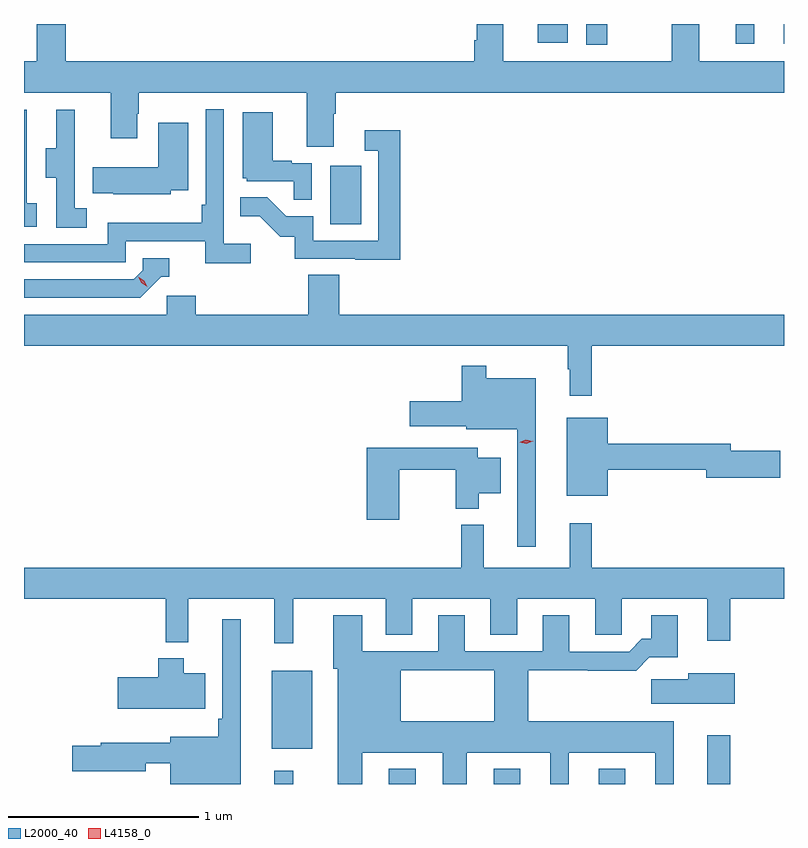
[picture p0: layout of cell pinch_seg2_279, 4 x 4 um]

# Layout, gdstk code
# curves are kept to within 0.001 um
import gdstk
lib = gdstk.Library(unit=1e-6, precision=1e-09)
def R(c, l, rs):  # rectangles x0, y0, x1, y1
    for r in rs: c.add(gdstk.rectangle(r[:2], r[2:], *l))
def A(c, l, x, y, w, h, nx, ny, dx, dy):  # array of equal rectangles
    R(c, l, [(x+i*dx, y+j*dy, x+i*dx+w, y+j*dy+h) for i in range(nx) for j in range(ny)])
def P(c, l, *ps):  # polygons
    for p in ps: c.add(gdstk.Polygon(p, *l))
L2000_40 = (2000, 40)
L4158_0 = (4158, 0)

pinch_seg2_279 = lib.new_cell('pinch_seg2_279')
A(pinch_seg2_279, L2000_40, 900.935, 640.001, 0.14, 0.08, 3, 1, 0.552, 0)
R(pinch_seg2_279, L2000_40, [(900.332,640.001,900.432,640.072), (902.609,640.001,902.731,640.258), (900.317,640.187,900.532,640.597), (900.626,642.948,900.79,643.255), (901.974,643.893,902.083,644.001), (902.759,643.896,902.857,644.001), (903.012,643.896,903.014,644.001), (901.718,643.902,901.876,644.001)])
P(pinch_seg2_279, L2000_40, [(900.643,643.528),(900.656,643.528),(900.656,643.64),(903.014,643.64),(903.014,643.804),(902.569,643.804),(902.569,644.001),(902.422,644.001),(902.422,643.804),(901.537,643.804),(901.537,644.001),(901.397,644.001),(901.397,643.916),(901.385,643.916),(901.385,643.804),(899.234,643.804),(899.234,643.999),(899.081,643.999),(899.081,643.804),(899.014,643.804),(899.014,643.64),(899.471,643.64),(899.471,643.401),(899.611,643.401),(899.611,643.529),(899.619,643.529),(899.619,643.64),(900.503,643.64),(900.503,643.354),(900.643,643.354)],
  [(900.208,642.844),(900.066,642.844),(900.066,643.552),(899.97,643.552),(899.97,643.051),(899.95,643.051),(899.95,642.955),(899.454,642.955),(899.454,642.843),(899.014,642.843),(899.014,642.747),(899.55,642.747),(899.55,642.858),(899.969,642.858),(899.969,642.742),(900.208,642.742)],
  [(899.08,643.058),(899.028,643.058),(899.028,643.549),(899.014,643.549),(899.014,642.933),(899.08,642.933)],
  [(899.344,643.031),(899.28,643.031),(899.28,643.335),(899.282,643.335),(899.282,643.549),(899.183,643.549),(899.183,643.347),(899.129,643.347),(899.129,643.192),(899.184,643.192),(899.184,642.928),(899.344,642.928)],
  [(900.528,643.269),(900.422,643.269),(900.422,643.282),(900.322,643.282),(900.322,643.537),(900.164,643.537),(900.164,643.188),(900.186,643.188),(900.186,643.173),(900.433,643.173),(900.433,643.075),(900.528,643.075)],
  [(899.787,643.127),(899.878,643.127),(899.878,643.48),(899.72,643.48),(899.72,643.246),(899.377,643.246),(899.377,643.109),(899.485,643.109),(899.485,643.106),(899.787,643.106)],
  [(900.995,643.441),(900.807,643.441),(900.807,643.335),(900.879,643.335),(900.879,642.861),(900.537,642.861),(900.537,642.99),(900.393,642.99),(900.295,643.088),(900.151,643.088),(900.151,642.989),(900.255,642.989),(900.362,642.882),(900.439,642.882),(900.439,642.765),(900.757,642.765),(900.757,642.76),(900.995,642.76)],
  [(899.736,642.672),(899.779,642.672),(899.779,642.768),(899.64,642.768),(899.64,642.705),(899.592,642.657),(899.014,642.657),(899.014,642.561),(899.625,642.561)],
  [(902.003,642.308),(903.014,642.308),(903.014,642.472),(900.674,642.472),(900.674,642.68),(900.509,642.68),(900.509,642.472),(899.918,642.472),(899.918,642.57),(899.766,642.57),(899.766,642.472),(899.014,642.472),(899.014,642.308),(901.875,642.308),(901.875,642.185),(901.886,642.185),(901.886,642.045),(902.003,642.045)],
  [(901.708,642.136),(901.447,642.136),(901.447,642.202),(901.318,642.202),(901.318,642.015),(901.044,642.015),(901.044,641.885),(901.341,641.885),(901.341,641.867),(901.611,641.867),(901.611,641.25),(901.708,641.25)],
  [(902.086,641.656),(902.606,641.656),(902.606,641.614),(902.995,641.614),(902.995,641.756),(902.734,641.756),(902.734,641.792),(902.086,641.792),(902.086,641.929),(901.871,641.929),(901.871,641.519),(902.086,641.519)],
  [(900.988,641.656),(901.286,641.656),(901.286,641.45),(901.408,641.45),(901.408,641.531),(901.522,641.531),(901.522,641.719),(901.402,641.719),(901.402,641.772),(900.818,641.772),(900.818,641.391),(900.988,641.391)],
  [(900.431,640.976),(900.917,640.976),(900.917,640.786),(901.057,640.786),(901.057,640.976),(901.469,640.976),(901.469,640.786),(901.609,640.786),(901.609,640.976),(902.021,640.976),(902.021,640.786),(902.16,640.786),(902.16,640.976),(902.609,640.976),(902.609,640.755),(902.731,640.755),(902.731,640.976),(903.014,640.976),(903.014,641.14),(902.003,641.14),(902.003,641.374),(901.886,641.374),(901.886,641.14),(901.433,641.14),(901.433,641.365),(901.315,641.365),(901.315,641.14),(899.014,641.14),(899.014,640.976),(899.761,640.976),(899.761,640.748),(899.879,640.748),(899.879,640.976),(900.332,640.976),(900.332,640.743),(900.431,640.743)],
  [(900.793,640.001),(900.793,640.166),(901.217,640.166),(901.217,640.001),(901.345,640.001),(901.345,640.166),(901.784,640.166),(901.784,640.001),(901.882,640.001),(901.882,640.166),(902.336,640.166),(902.336,640.001),(902.434,640.001),(902.434,640.33),(901.667,640.33),(901.667,640.6),(901.981,640.6),(901.981,640.598),(902.237,640.598),(902.306,640.667),(902.455,640.667),(902.455,640.888),(902.315,640.888),(902.315,640.765),(902.266,640.765),(902.199,640.698),(901.885,640.698),(901.885,640.888),(901.745,640.888),(901.745,640.701),(901.333,640.701),(901.333,640.888),(901.193,640.888),(901.193,640.701),(900.793,640.701),(900.793,640.888),(900.641,640.888),(900.641,640.608),(900.665,640.608),(900.665,640.33),(900.997,640.33),(900.997,640.6),(901.489,640.6),(901.489,640.33),(900.665,640.33),(900.665,640.001)],
  [(900.154,640.867),(900.057,640.867),(900.057,640.345),(900.037,640.345),(900.037,640.249),(899.783,640.249),(899.783,640.219),(899.417,640.219),(899.417,640.202),(899.268,640.202),(899.268,640.067),(899.656,640.067),(899.656,640.11),(899.784,640.11),(899.784,640.001),(900.154,640.001)],
  [(899.968,640.585),(899.854,640.585),(899.854,640.663),(899.72,640.663),(899.72,640.563),(899.508,640.563),(899.508,640.397),(899.968,640.397)],
  [(902.755,640.585),(902.51,640.585),(902.51,640.553),(902.316,640.553),(902.316,640.424),(902.755,640.424)])
P(pinch_seg2_279, L4158_0, [(901.658,641.792),(901.622,641.8),(901.621,641.8),(901.622,641.8),(901.656,641.812),(901.692,641.805),(901.693,641.805),(901.692,641.805)],
  [(899.662,642.618),(899.632,642.638),(899.616,642.671),(899.616,642.671),(899.616,642.671),(899.647,642.651),(899.663,642.619),(899.663,642.618)])

lib.write_gds('pinch_seg2_279.gds')
